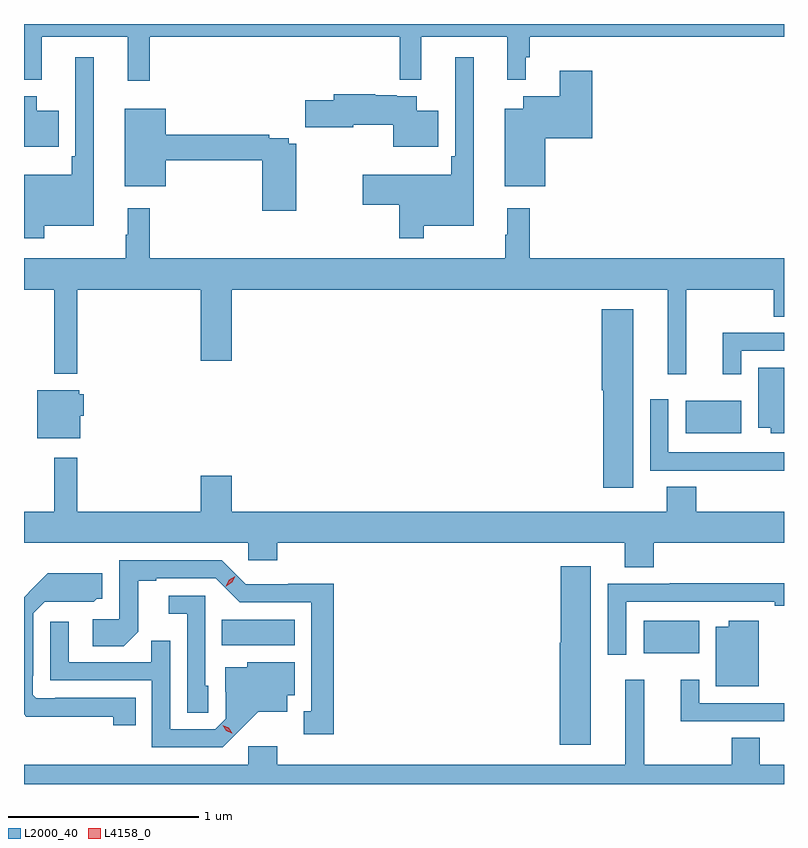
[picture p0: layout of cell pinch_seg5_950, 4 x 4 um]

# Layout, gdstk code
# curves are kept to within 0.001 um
import gdstk
lib = gdstk.Library(unit=1e-6, precision=1e-09)
def R(c, l, rs):  # rectangles x0, y0, x1, y1
    for r in rs: c.add(gdstk.rectangle(r[:2], r[2:], *l))
def P(c, l, *ps):  # polygons
    for p in ps: c.add(gdstk.Polygon(p, *l))
L2000_40 = (2000, 40)
L4158_0 = (4158, 0)

pinch_seg5_950 = lib.new_cell('pinch_seg5_950')
R(pinch_seg5_950, L2000_40, [(754.751,912.122,755.044,912.292), (752.53,912.164,752.914,912.298), (754.973,913.28,755.266,913.45)])
P(pinch_seg5_950, L2000_40, [(752.153,915.368),(753.467,915.368),(753.467,915.14),(753.581,915.14),(753.581,915.368),(754.034,915.368),(754.034,915.14),(754.132,915.14),(754.132,915.26),(754.151,915.26),(754.151,915.368),(755.49,915.368),(755.49,915.434),(751.49,915.434),(751.49,915.14),(751.583,915.14),(751.583,915.368),(752.036,915.368),(752.036,915.135),(752.153,915.135)],
  [(753.595,914.372),(753.856,914.372),(753.856,915.259),(753.759,915.259),(753.759,914.737),(753.739,914.737),(753.739,914.641),(753.273,914.641),(753.273,914.483),(753.466,914.483),(753.466,914.307),(753.595,914.307)],
  [(751.597,914.372),(751.858,914.372),(751.858,915.259),(751.761,915.259),(751.761,914.737),(751.741,914.737),(751.741,914.641),(751.49,914.641),(751.49,914.307),(751.597,914.307)],
  [(754.234,914.834),(754.481,914.834),(754.481,915.187),(754.31,915.187),(754.31,915.055),(754.118,915.055),(754.118,914.989),(754.019,914.989),(754.019,914.579),(754.234,914.579)],
  [(753.67,914.977),(753.556,914.977),(753.556,915.055),(753.452,915.055),(753.452,915.06),(753.338,915.06),(753.338,915.063),(753.119,915.063),(753.119,915.033),(752.97,915.033),(752.97,914.891),(753.223,914.891),(753.223,914.903),(753.434,914.903),(753.434,914.789),(753.67,914.789)],
  [(751.672,914.977),(751.558,914.977),(751.558,915.055),(751.49,915.055),(751.49,914.789),(751.672,914.789)],
  [(752.922,914.803),(752.884,914.803),(752.884,914.832),(752.78,914.832),(752.78,914.852),(752.236,914.852),(752.236,914.989),(752.021,914.989),(752.021,914.579),(752.236,914.579),(752.236,914.716),(752.744,914.716),(752.744,914.451),(752.922,914.451)],
  [(754.976,914.036),(755.437,914.036),(755.437,913.894),(755.49,913.894),(755.49,914.2),(754.151,914.2),(754.151,914.464),(754.034,914.464),(754.034,914.324),(754.023,914.324),(754.023,914.2),(752.153,914.2),(752.153,914.464),(752.036,914.464),(752.036,914.324),(752.025,914.324),(752.025,914.2),(751.49,914.2),(751.49,914.036),(751.649,914.036),(751.649,913.592),(751.771,913.592),(751.771,914.036),(752.42,914.036),(752.42,913.662),(752.584,913.662),(752.584,914.036),(754.877,914.036),(754.877,913.59),(754.976,913.59)],
  [(754.696,913.933),(754.532,913.933),(754.532,913.506),(754.538,913.506),(754.538,912.993),(754.696,912.993)],
  [(755.265,913.713),(755.49,913.713),(755.49,913.809),(755.168,913.809),(755.168,913.59),(755.265,913.59)],
  [(755.49,913.624),(755.354,913.624),(755.354,913.31),(755.42,913.31),(755.42,913.28),(755.49,913.28)],
  [(751.786,913.371),(751.804,913.371),(751.804,913.485),(751.782,913.485),(751.782,913.507),(751.559,913.507),(751.559,913.253),(751.786,913.253)],
  [(755.49,913.179),(754.881,913.179),(754.881,913.459),(754.785,913.459),(754.785,913.083),(755.11,913.083),(755.11,913.082),(755.49,913.082)],
  [(754.805,912.704),(755.49,912.704),(755.49,912.868),(755.027,912.868),(755.027,912.998),(754.874,912.998),(754.874,912.868),(752.584,912.868),(752.584,913.057),(752.42,913.057),(752.42,912.868),(751.771,912.868),(751.771,913.15),(751.649,913.15),(751.649,912.868),(751.49,912.868),(751.49,912.704),(752.67,912.704),(752.67,912.611),(752.822,912.611),(752.822,912.704),(754.652,912.704),(754.652,912.574),(754.805,912.574)],
  [(753.121,912.488),(752.88,912.488),(752.88,912.486),(752.658,912.486),(752.532,912.612),(751.992,912.612),(751.992,912.3),(751.851,912.3),(751.851,912.16),(752.015,912.16),(752.091,912.236),(752.091,912.504),(752.185,912.504),(752.185,912.516),(752.499,912.516),(752.625,912.39),(753.002,912.39),(753.002,911.817),(752.963,911.817),(752.963,911.697),(753.121,911.697)],
  [(754.474,912.58),(754.316,912.58),(754.316,912.177),(754.31,912.177),(754.31,911.64),(754.474,911.64)],
  [(752.078,911.889),(751.654,911.889),(751.654,911.886),(751.554,911.886),(751.536,911.904),(751.536,912.004),(751.539,912.004),(751.539,912.333),(751.599,912.393),(751.856,912.392),(751.872,912.408),(751.903,912.408),(751.903,912.544),(751.615,912.544),(751.49,912.418),(751.49,911.801),(751.502,911.789),(751.96,911.788),(751.96,911.742),(752.078,911.742)],
  [(754.659,912.393),(755.441,912.393),(755.441,912.373),(755.49,912.373),(755.49,912.491),(754.888,912.491),(754.888,912.489),(754.563,912.489),(754.563,912.114),(754.659,912.114)],
  [(752.46,911.952),(752.445,911.952),(752.445,912.426),(752.253,912.426),(752.253,912.329),(752.349,912.329),(752.349,911.809),(752.46,911.809)],
  [(755.356,912.292),(755.198,912.292),(755.198,912.262),(755.132,912.262),(755.132,911.948),(755.356,911.948)],
  [(752.62,911.711),(752.723,911.813),(752.875,911.813),(752.875,911.9),(752.914,911.9),(752.914,912.076),(752.664,912.076),(752.664,912.049),(752.549,912.049),(752.549,911.92),(752.553,911.92),(752.553,911.778),(752.496,911.721),(752.259,911.721),(752.259,912.188),(752.161,912.188),(752.161,912.075),(751.725,912.075),(751.725,912.289),(751.629,912.289),(751.629,911.979),(752.163,911.979),(752.163,911.628),(752.536,911.628)],
  [(755.49,911.536),(755.362,911.536),(755.362,911.678),(755.215,911.678),(755.215,911.536),(754.754,911.536),(754.754,911.983),(754.655,911.983),(754.655,911.536),(752.822,911.536),(752.822,911.632),(752.67,911.632),(752.67,911.536),(751.49,911.536),(751.49,911.434),(755.49,911.434)],
  [(755.49,911.859),(755.043,911.859),(755.043,911.983),(754.946,911.983),(754.946,911.763),(755.49,911.763)])
P(pinch_seg5_950, L4158_0, [(752.553,912.475),(752.553,912.475),(752.57,912.508),(752.601,912.528),(752.602,912.528),(752.602,912.528),(752.585,912.495),(752.554,912.475)],
  [(752.584,911.7),(752.554,911.715),(752.536,911.744),(752.536,911.744),(752.536,911.744),(752.567,911.73),(752.585,911.7),(752.585,911.7)])

lib.write_gds('pinch_seg5_950.gds')
